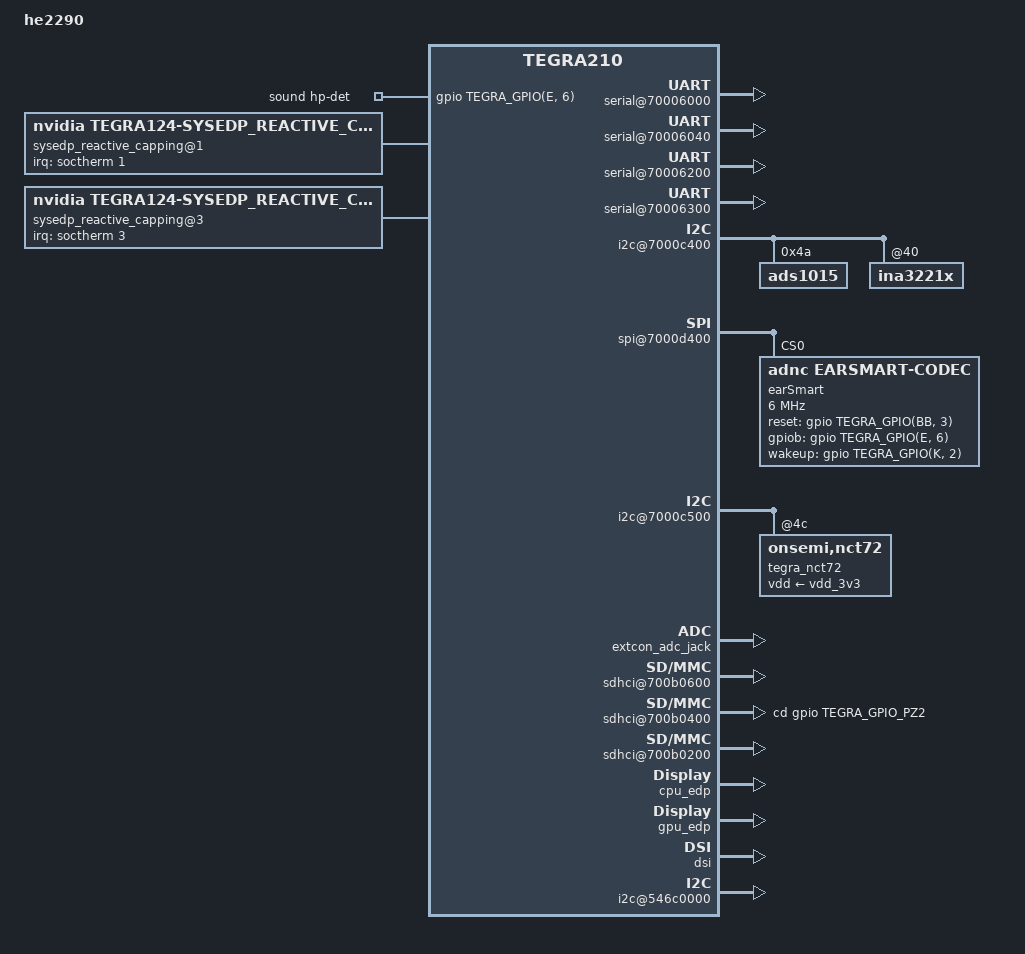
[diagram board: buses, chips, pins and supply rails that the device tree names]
/*
 * tegra210-hawkeye-p2290-common.dtsi: Hawkeye common dtsi.
 *
 * Copyright (c) 2014-2016, NVIDIA CORPORATION.  All rights reserved.
 *
 * This program is free software; you can redistribute it and/or modify
 * it under the terms of the GNU General Public License as published by
 * the Free Software Foundation; version 2 of the License.
 *
 * This program is distributed in the hope that it will be useful, but WITHOUT
 * ANY WARRANTY; without even the implied warranty of MERCHANTABILITY or
 * FITNESS FOR A PARTICULAR PURPOSE.  See the GNU General Public License for
 * more details.
 */

#include <dt-bindings/types.h>
/dts-v1/;

/memreserve/ 0x80000000 0x00020000;

#include "tegra210-soc-shield.dtsi"
#include <dt-bindings/interrupt-controller/arm-gic.h>
#include <dt-bindings/gpio/tegra-gpio.h>
#include <dt-bindings/padctrl/tegra210-pads.h>

#include "tegra210-platforms/tegra210-prods.dtsi"
#include "tegra210-platforms/tegra210-hawkeye-pinmux-p2290-1100-a00.dtsi"
#include "tegra210-platforms/tegra210-pinmux-drive-sdmmc-common.dtsi"
#include "tegra210-platforms/tegra210-hawkeye-pinmux-manual-p2290-1100-a00.dtsi"
#include "tegra210-platforms/tegra210-hawkeye-power-tree-p2290-1100-a00.dtsi"
#include "tegra210-platforms/tegra210-ers-keys-e2220-1170-a00.dtsi"
#include "tegra210-platforms/tegra210-hawkeye-maxim-charger.dtsi"
#include "panel-s-wuxga-7-0.dtsi"
#include "panel-s-wuxga-8-0.dtsi"
#include "panel-a-wuxga-8-0.dtsi"
#include "tegra210-platforms/tegra210-hawkeye-emc-p2290-1100-a00.dtsi"
#include "tegra210-platforms/tegra210-hawkeye-touch.dtsi"
#include "tegra210-platforms/tegra210-hawkeye-sensor-p2290-1100-a00.dtsi"
#include "tegra210-platforms/tegra210-hawkeye-camera-p2290-1100-a00.dtsi"
#include "tegra210-platforms/tegra210-hawkeye-modem-p2290-1100-a00.dtsi"
#include "tegra210-platforms/tegra210-sdhci.dtsi"
#include "tegra210-platforms/tegra210-edp.dtsi"
#include "tegra210-platforms/tegra210-audio.dtsi"
#include "tegra210-platforms/tegra210-ers-thermal-nct72-e2220-1170-a00.dtsi"
#include "tegra210-platforms/tegra210-thermal-Tboard-Tdiode.dtsi"
#include "tegra210-platforms/tegra210-therm-est.dtsi"
#include "tegra210-platforms/tegra210-ers-clk-init.dtsi"
#include "tegra210-platforms/tegra210-ers-hdmi-e2190-1100-a00.dtsi"
#include "tegra210-platforms/tegra210-hawkeye-keys-p2290-1100-a00.dtsi"
#include "tegra210-platforms/tegra210-hawkeye-powermon.dtsi"
#include "tegra210-platforms/tegra210-hawkeye-e-prods.dtsi"
#include "tegra210-platforms/tegra210-hawkeye-thermal-zone-p2290-1100-a00.dtsi"
#include "tegra210-platforms/tegra210-hawkeye-cpufreq.dtsi"
#include "tegra210-plugin-manager/tegra210-hawkeye-plugin-manager.dtsi"

/* TODO: comm's dtsi should be included after GPIO dtsi */
#include "tegra210-platforms/tegra210-hawkeye-comms.dtsi"

/ {
	model = "he2290";
	compatible = "nvidia,he2290", "nvidia,tegra210";
	nvidia,fastboot-usb-pid = <0xcf0e>;

	nvidia,pmu-boardid = "2290:0000:A0";
	nvidia,dtbbuildtime = __DATE__, __TIME__;
	#address-cells = <2>;
	#size-cells = <2>;

	chosen {
		fastboot-instructions = "Press <Power> to select, <Volume Up/Down> for selection move\n";
		long-press-power-key-on-time = <2>;
		no-tnid-sn;
		nvidia,fastboot_without_usb;
	};

	firmware {
		android {
			compatible = "android,firmware";
			hardware = "he2290";
		};
	};

	gpio@6000d000 {
		camera_control {
			gpio-output-low = <
				TEGRA_GPIO(S, 4)
				TEGRA_GPIO(S, 5)
				TEGRA_GPIO(S, 6)
				TEGRA_GPIO(S, 7)
				TEGRA_GPIO(T, 0)
				>;
		};

		audio_over_jack {
			gpio-output-high = <TEGRA_GPIO(DD, 0)>;
		};

		uart_overjack: uart_over_jack {
			status = "disabled";
			gpio-output-low = <TEGRA_GPIO(DD, 0)>;
		};
	};

	pinmux@700008d4 {
		prod-settings {
			prod-qspi {
				nvidia,prod-boot-init;
				prod = <0 0x29C 0xFFFFFFFD 0x00000000>; // QSPI-COMP-CONTROL E_INPU 0
			};
		};
	};

	serial@70006000 {
		compatible = "nvidia,tegra210-uart", "nvidia,tegra114-hsuart";
		console-port;
		sqa-automation-port;
		status = "okay";
	};

	serial@70006040 {
		compatible = "nvidia,tegra114-hsuart";
		status = "okay";
	};

	serial@70006200 {
		compatible = "nvidia,tegra114-hsuart";
		dma-names = "tx";
		nvidia,adjust-baud-rates = <921600 921600 100>;
		status = "okay";
	};

	serial@70006300 {
		compatible = "nvidia,tegra114-hsuart";
		dma-names = "tx";
		status = "okay";
	};

	gpio-keys {
		home {
			status = "disabled";
		};
	};

	i2c@7000c400 {
		status = "okay";
		lp8557-backlight-a-wuxga-8-0@2c {
			status = "disabled";
			disable-on-kernel-charging;
			compatible = "ti,lp8557";
			reg = <0x2c>;

			bl-name = "pwm-backlight"; /* Match liblights naming expectations */
			init-brt = /bits/ 8 <0xFF>; /* Max brightness */
			dev-ctrl = /bits/ 8 <0x80>; /* PWM, enable standby mode */
			pwm-period = <29334>;

			pwm-names = "lp8557";
			pwms = <&tegra_pwm 0 29334>;

			bl-measured = < 0 1 2 3 4 5 6 7
					8 9 10 11 12 13 14 15
					16 17 18 19 20 21 22 23
					24 25 26 27 28 29 30 31
					32 33 34 35 36 37 38 39
					40 41 42 43 44 45 46 47
					48 49 50 51 52 53 54 55
					56 57 58 59 60 61 62 63
					64 65 66 67 68 69 70 71
					72 73 74 75 76 77 78 79
					80 81 82 83 84 85 86 87
					88 89 90 91 92 93 94 95
					96 97 98 99 100 101 102 103
					104 105 106 107 108 109 110 111
					112 113 114 115 116 117 118 119
					120 121 122 123 124 125 126 127
					128 129 130 131 132 133 134 135
					136 137 138 139 140 141 142 143
					144 145 146 147 148 149 150 151
					152 153 154 155 156 157 158 159
					160 161 162 163 164 165 166 167
					168 169 170 171 172 173 174 175
					176 177 178 179 180 181 182 183
					184 185 186 187 188 189 190 191
					192 193 194 195 196 197 198 199
					200 201 202 203 204 205 206 207
					208 209 210 211 212 213 214 215
					216 217 218 219 220 221 222 223
					224 225 226 227 228 229 230 231
					232 233 234 235 236 237 238 239
					240 241 242 243 244 245 246 247
					248 249 250 251 252 253 254 255 >;

			/* 3 LED string */
			rom_14h {
				rom-addr = /bits/ 8 <0x14>;
				rom-val = /bits/ 8 <0x87>;
			};

			/*Boost freq 1MHZ*/
			rom_13h {
				rom-addr = /bits/ 8 <0x13>;
				rom-val = /bits/ 8 <0x01>;
			};
		};

		lp8557-backlight-s-wuxga-7-0@2c {
			status = "disabled";
			disable-on-kernel-charging;
			compatible = "ti,lp8557";
			reg = <0x2c>;

			bl-name = "pwm-backlight"; /* Match liblights naming expectations */
			init-brt = /bits/ 8 <0xFF>; /* Max brightness */
			dev-ctrl = /bits/ 8 <0x80>; /* PWM, enable standby mode */
			pwm-period = <29334>;

			pwm-names = "lp8557";
			pwms = <&tegra_pwm 0 29334>;

			bl-measured = < 0 1 2 3 4 5 6 7
					8 9 10 11 12 13 14 15
					16 17 18 19 20 21 22 23
					24 25 26 27 28 29 30 31
					32 33 34 35 36 37 38 39
					40 41 42 43 44 45 46 47
					48 49 50 51 52 53 54 55
					56 57 58 59 60 61 62 63
					64 65 66 67 68 69 70 71
					72 73 74 75 76 77 78 79
					80 81 82 83 84 85 86 87
					88 89 90 91 92 93 94 95
					96 97 98 99 100 101 102 103
					104 105 106 107 108 109 110 111
					112 113 114 115 116 117 118 119
					120 121 122 123 124 125 126 127
					128 129 130 131 132 133 134 135
					136 137 138 139 140 141 142 143
					144 145 146 147 148 149 150 151
					152 153 154 155 156 157 158 159
					160 161 162 163 164 165 166 167
					168 169 170 171 172 173 174 175
					176 177 178 179 180 181 182 183
					184 185 186 187 188 189 190 191
					192 193 194 195 196 197 198 199
					200 201 202 203 204 205 206 207
					208 209 210 211 212 213 214 215
					216 217 218 219 220 221 222 223
					224 225 226 227 228 229 230 231
					232 233 234 235 236 237 238 239
					240 241 242 243 244 245 246 247
					248 249 250 251 252 253 254 255 >;

			/* 5 LED string */
			rom_14h {
				rom-addr = /bits/ 8 <0x14>;
				rom-val = /bits/ 8 <0x9f>;
			};

			/*Boost freq 1MHZ*/
			rom_13h {
				rom-addr = /bits/ 8 <0x13>;
				rom-val = /bits/ 8 <0x01>;
			};
		};

		lp8557-backlight-s-wuxga-8-0@2c {
			status = "disabled";
			disable-on-kernel-charging;
			compatible = "ti,lp8557";
			reg = <0x2c>;

			bl-name = "pwm-backlight"; /* Match liblights naming expectations */
			init-brt = /bits/ 8 <0xFF>; /* Max brightness */
			dev-ctrl = /bits/ 8 <0x80>; /* PWM, enable standby mode */
			pwm-period = <29334>;

			pwm-names = "lp8557";
			pwms = <&tegra_pwm 0 29334>;

			bl-measured = < 0 1 2 3 4 5 5 6
					7 8 9 10 11 11 12 13
					14 15 15 16 17 18 19 20
					21 22 22 23 24 25 26 27
					28 29 30 31 31 32 33 34
					35 36 37 37 38 39 40 41
					41 42 43 44 45 46 47 48
					48 49 50 51 52 53 54 54
					55 56 57 58 58 59 60 61
					62 63 64 65 66 67 68 69
					70 71 72 73 74 75 75 76
					77 78 79 80 81 82 83 84
					85 86 87 88 89 90 91 92
					93 94 94 95 96 97 98 99
					100 101 102 104 105 106 107 108
					109 110 111 112 113 114 115 116
					117 118 119 120 121 122 123 125
					126 127 128 129 130 131 132 133
					134 135 136 137 138 139 140 141
					142 143 144 146 147 148 149 150
					151 152 153 154 155 156 157 158
					159 160 161 162 163 164 165 167
					168 169 170 171 172 173 174 175
					176 178 179 180 181 182 183 184
					185 186 187 188 189 190 191 192
					193 194 195 196 197 199 200 201
					202 203 204 205 206 207 208 210
					211 212 213 214 215 216 217 219
					220 221 222 223 225 226 227 228
					229 230 231 233 234 235 236 237
					238 239 240 241 242 244 245 246
					247 248 249 250 251 253 254 255 >;

			bl-curve = < 0 1 1 2 2 3 3 4
					4 5 5 6 7 7 8 8
					9 9 10 10 11 11 12 12
					13 14 14 15 15 16 16 17
					17 18 18 19 20 20 21 21
					22 22 23 23 24 24 25 25
					26 27 27 28 28 29 29 30
					30 31 31 32 33 33 34 34
					35 35 36 36 37 37 38 38
					39 40 40 41 41 42 42 43
					43 44 44 45 46 46 47 47
					48 48 49 49 50 50 51 52
					52 53 53 54 54 55 55 56
					56 57 57 58 59 59 60 60
					61 61 62 62 63 63 64 65
					65 66 66 67 67 68 68 69
					69 70 70 71 72 72 73 73
					74 74 75 75 76 76 77 78
					78 79 79 80 80 81 81 82
					82 83 83 84 85 85 86 86
					87 87 88 88 89 89 90 92
					94 96 97 99 101 103 105 107
					109 110 112 114 116 118 120 122
					123 125 127 129 131 133 134 136
					138 140 142 144 146 147 149 151
					153 155 157 159 160 162 164 166
					168 170 172 173 175 177 179 181
					183 185 186 188 190 192 194 196
					198 199 201 203 205 207 209 211
					212 214 216 218 220 222 223 225
					227 229 231 233 235 236 238 240
					242 244 246 248 249 251 253 255 >;

			/* 5 LED string */
			rom_14h {
				rom-addr = /bits/ 8 <0x14>;
				rom-val = /bits/ 8 <0x9f>;
			};

			/*Boost freq 1MHZ*/
			rom_13h {
				rom-addr = /bits/ 8 <0x13>;
				rom-val = /bits/ 8 <0x01>;
			};

			/*20mA max */
			rom_11h {
				rom-addr = /bits/ 8 <0x11>;
				rom-val = /bits/ 8 <0x05>;
			};
		};

		ads1015: ads1015@4a {
			reg = <0x4a>;
			compatible = "ads1015";
			#io-channel-cells = <1>;
			ti,programmable-gain-amplifier = <1>;
			sampling-frequency = <3300>;
			ti,adc-conversion-delay = <1500>;
			ti,traditional-comparator-mode;
			ti,comparator-queue = <3>;
			continuous-mode {
				ti,continuous-channel-number = <4>;
				ti,maximum-retries = <6>;
				sampling-frequency = <128>;
				ti,adc-valid-threshold-ranges= <(-100)  76
								200     309
								1049    1263
								673     848
								402     524
								2000    2047>;
			};
		};
	};

	adma@702e2000  {
		dma-channels = <10>;
		status = "okay";
	};

	spi@7000d400 {
		status = "okay";
		earSmart: earSmart-codec@0 {
			compatible = "adnc,earSmart-codec";
			reg = <0>;
			spi-max-frequency = <6000000>;
			spi-cpha;

			adnc,reset-gpio = <&gpio TEGRA_GPIO(BB, 3) GPIO_ACTIVE_HIGH>;
			adnc,gpiob-gpio = <&gpio TEGRA_GPIO(E, 6) GPIO_ACTIVE_HIGH>;
			adnc,wakeup-gpio = <&gpio TEGRA_GPIO(K, 2) GPIO_ACTIVE_HIGH>;

			adnc,int-gpio = <(-1)>;
			adnc,gpioa-gpio = <(-1)>;
			adnc,enable_hs_uart_intf = <0>;
			adnc,ext_clk_rate = <0>;
			adnc,debounce_timer = <3>;
			adnc,plug_det_enabled = <1>;
			adnc,mic_det_enabled = <1>;

			adnc,gpio_b_irq_type = <4>;
			adnc,cmd_comp_mode = <0>;

			/* Button Control 1 */
			adnc,btn_press_settling_time = <4>;
			adnc,btn_press_polling_rate = <1>;
			adnc,btn_press_det_act = <1>;

			/* Button Control 2 */
			adnc,double_btn_timer = <(-1)>;
			adnc,mic_det_settling_timer = <(-1)>;

			/* Button Control 3 */
			adnc,long_btn_timer = <(-1)>;
			adnc,adc_btn_mute = <(-1)>;

			/* Button Control 4 */
			adnc,valid_levels = <31>;
			adnc,impd_det_timer = <0>;
		};
	};

	ahub {
		i2s@702d1100 {
			pinctrl-names = "dap_active", "dap_inactive";
			pinctrl-0 = <>;
			pinctrl-1 = <>;
			regulator-supplies = "vdd-1v8-spi-hv", "vdd-1v8-spi-hv-bias";
			vdd-1v8-spi-hv-supply = <&max77620_sd3>;
			vdd-1v8-spi-hv-bias-supply = <&max77620_sd3>;
			fsync-width = <0>;
		};
	};

	sound {
		compatible = "nvidia,tegra-audio-t210ref-mobile-es755";
		nvidia,model = "tegra-snd-t210ref-mobile-es755";
		nvidia,hp-det-gpios = <&gpio TEGRA_GPIO(E, 6) GPIO_ACTIVE_HIGH>;
		nvidia,num-codec-link = <4>;
		nvidia,digital-mic-data-input = "pdm0_di";
		edp-consumer-name = "codec+speaker";

		nvidia,audio-routing =
			"Int Spk",	"SPKRL",
			"Int Spk",	"SPKRR",
			"y Headphone", 	"y OUT",
			"y IN",		"y Mic",
			"z IN",         "z OUT",
			"k Headphone", 	"k OUT",
			"k IN",		"k Mic";

		nvidia,xbar = <&tegra_axbar>;

		nvidia,dai-link-1 {
			link-name = "earSmart-playback";
			cpu-dai = <&tegra_i2s1>;
			codec-dai = <&earSmart>;
			cpu-dai-name = "I2S1";
			codec-dai-name = "earSmart-porta";
			format = "i2s";
			bitclock-slave;
			frame-slave;
			bitclock-noninversion;
			frame-noninversion;
			bit-format = "s16_le";
			bclk_ratio = <0>;
			srate = <48000>;
			num-channel = <2>;
			name-prefix = "x";
		};
		nvidia,dai-link-2 {
			link-name = "spdif-dit-1";
			cpu-dai = <&tegra_i2s2>;
			codec-dai = <&spdif_dit1>;
			cpu-dai-name = "I2S2";
			codec-dai-name = "dit-hifi";
			format = "dsp_a";
			bitclock-slave;
			frame-slave;
			bitclock-inversion;
			frame-inversion;
			bit-format = "s16_le";
			bclk_ratio = <4>;
			srate = <8000>;
			num-channel = <1>;
			name-prefix = "y";
		};
		nvidia,dai-link-3 {
			link-name = "spdif-dit-2";
			cpu-dai = <&tegra_i2s3>;
			codec-dai = <&spdif_dit2>;
			cpu-dai-name = "I2S3";
			codec-dai-name = "dit-hifi";
			format = "i2s";
			bitclock-slave;
			frame-slave;
			bitclock-noninversion;
			frame-noninversion;
			bit-format = "s16_le";
			bclk_ratio = <0>;
			srate = <48000>;
			num-channel = <2>;
			name-prefix = "z";
		};
                nvidia,dai-link-4 {
                        link-name = "spdif-dit-3";
                        cpu-dai = <&tegra_i2s4>;
                        codec-dai = <&spdif_dit3>;
                        cpu-dai-name = "I2S4";
                        codec-dai-name = "dit-hifi";
                        format = "i2s";
                        bitclock-slave;
                        frame-slave;
                        bitclock-noninversion;
                        frame-noninversion;
                        bit-format = "s16_le";
                        bclk_ratio = <0>;
                        srate = <48000>;
                        num-channel = <2>;
                        name-prefix = "k";
                };
	};

	i2c@7000c500 {
		tegra_nct72: onsemi,nct72@4c {
			vdd-supply = <&vdd_3v3>;
		};
	};

	camera-pcl {
		profiles {
			ov5693@x_0010 {
				use_of_node = "yes";
				dev_name = "ov5693";
				num = <0>;
				avdd-supply = <&max77620_ldo3>;
				dvdd-supply = <&max77620_ldo3>;
				dovdd-supply = <&en_vdd_cam>;
				cam2-gpios = <&gpio TEGRA_GPIO(S, 7) 1>;
			};
			ad5823@x_000c {
				use_of_node = "yes";
				vdd-supply = <&max77620_ldo3>;
				vif-supply = <&en_vdd_cam>;
				af-pwdn-gpios = <&gpio TEGRA_GPIO(S, 5) 1>;
			};
			imx132@x_0036 {
				use_of_node = "yes";
				dev_name = "imx132";
				num = <1>;
				vana-supply = <&max77620_ldo3>;
				vdig-supply = <&en_vdd_cam_1v2>;
				vif-supply = <&en_vdd_cam>;
				reset-gpios = <&gpio TEGRA_GPIO(T, 0) 0>;
				cam2-gpios = <&gpio TEGRA_GPIO(S, 4) 0>;
			};
		};

		dpd {
			compatible = "nvidia,csi-dpd";
			#address-cells = <1>;
			#size-cells = <0>;
			default-enable;
			num = <6>;
			csia {
				reg = <0x0 0x0 0x0 0x0>;
			};
			csib {
				reg = <0x0 0x1 0x0 0x0>;
			};
			csic {
				reg = <0x1 0x0a 0x0 0x0>;
			};
			csid {
				reg = <0x1 0x0b 0x0 0x0>;
			};
			csie {
				reg = <0x1 0x0c 0x0 0x0>;
			};
			csif {
				reg = <0x1 0x0d 0x0 0x0>;
			};
		};
	};

	psy_extcon: psy_extcon {
		compatible = "power-supply-extcon";
		extcon-cables = <&udc 1 &udc 2 &udc 3
					&udc 4 &udc 5 &udc 6
					&udc 7 &udc 8 &udc 9
					&udc 10 &udc 11 &udc 12 &udc 13 &otg 0 &otg 1>;
		extcon-cable-names = "usb-charger", "ta-charger", "maxim-charger",
					"qc2-charger", "downstream-charger","fast-charger",
					"slow-charger", "apple-500ma", "apple-1a",
					"apple-2a", "ACA NV-Charger", "ACA RID-B", "ACA RID-C", "y-cable", "ACA RID-A";
		status = "okay";
	};

	adsp_audio {
		compr-ops = <1>;
		num-plugin = <5>;
		plugin-info-1 {
			plugin-name = "mp3-dec1";
			firmware-name = "nvmp3dec.elf";
			widget-name = "MP3-DEC1";
		};
		plugin-info-2 {
			plugin-name = "spkprot";
			firmware-name = "nvspkprot.elf";
			widget-name = "SPKPROT-SW";
		};
		plugin-info-3 {
			plugin-name = "src";
			firmware-name = "nvsrc.elf";
			widget-name = "SRC";
		};
		plugin-info-4 {
			plugin-name = "aac-dec1";
			firmware-name = "nvaacdec.elf";
			widget-name = "AAC-DEC1";
		};
		plugin-info-5 {
			plugin-name = "aec";
			firmware-name = "libnvaecfx.elf";
			widget-name = "AEC";
		};
	};

	extcon {
		id_gpio_extcon: extcon@0 {
			compatible = "extcon-gpio";
			reg = <0x0>;
			status = "disabled";
			extcon-gpio,name = "ID";
			gpio = <&max77620 0 0>;
			extcon-gpio,connection-state-low;
			extcon-gpio,cable-name = "USB-Host";
			#extcon-cells = <1>;
		};

		extcon_adc_jack: extcon@1 {
			compatible = "extcon-adc-jack";
			reg = <0x1>;
                        interrupt-parent = <&gpio>;
                        interrupts = <TEGRA_GPIO(A, 2) GPIO_ACTIVE_HIGH>;
                        extcon-adc-jack,irq-flags = <2>;
			extcon-adc-jack,debounce-ms = <500>;
			extcon-adc-jack,cable-names = "ID-GND", "ID-NV", "ID-RA", "ID-RB", "ID-RC";
			extcon-adc-jack,states = <0x1    (-100)   76
						  0x2    200      309
						  0x4    1049     1263
						  0x8    673      848
						  0x10   402      524>;
			io-channels = <&ads1015 4>;
			io-channel-names = "id-resistance";
			#extcon-cells = <1>;
		};

                extcon_cable_xlate: extcon@2 {
                        compatible = "extcon-cable-xlate";
                        reg = <0x2>;
                        extcon-name = "cable-xlate";
                        output-cable-names = "USB", "USB-Host", "ACA-NV", "Y-Cable", "ACA-A", "ACA-B", "ACA-C";
                                        extcon-cables = <&bq2419x 0 &extcon_adc_jack 0 &extcon_adc_jack 1 &extcon_adc_jack 2 &extcon_adc_jack 3 &extcon_adc_jack 4>;
                        extcon-cable-names = "vbus", "id", "aca-nv", "aca-ra", "aca-rb", "aca-rc";
                        cable-states = <0x0     0x3F    0x0
                                        0x1     0x3F    0x1
                                        0x2     0x3F    0x2
                                        0x4     0x3F    0x4
                                        0x5     0x3F    0x4
                                        0x3     0x3F    0x8
                                        0x8     0x3F    0x10
                                        0x9     0x3F    0x10
                                        0x10    0x3F    0x20
                                        0x11    0x3F    0x20
                                        0x21    0x3F    0x40
                                        0x20    0x3F    0x40>;
                        #extcon-cells = <1>;
                };
	};

	pmc@7000e400 {
		nvidia,invert-interrupt;
		platform-io-pad-voltage = <TEGRA210_PAD_GPIO IO_PAD_VOLTAGE_1_8V>;
		io-pad-defaults {
			pex-bias {
				nvidia,deep-power-down-enable;
			};

			pex-clk1 {
				nvidia,deep-power-down-enable;
			};

			pex-clk2 {
				nvidia,deep-power-down-enable;
			};
			audio-hv {
				nvidia,io-pad-init-voltage = <IO_PAD_VOLTAGE_1_8V>;
			};

			gpio {
				nvidia,io-pad-init-voltage = <IO_PAD_VOLTAGE_1_8V>;
			};

			spi-hv {
				nvidia,io-pad-init-voltage = <IO_PAD_VOLTAGE_1_8V>;
			};

			sdmmc1 {
				nvidia,io-pad-init-voltage = <IO_PAD_VOLTAGE_1_8V>;
				nvidia,enable-dynamic-pad-voltage;
			};

			spi {
				nvidia,io-pad-init-voltage = <IO_PAD_VOLTAGE_1_8V>;
			};

			sdmmc3 {
				nvidia,enable-dynamic-pad-voltage;
			};
		};
	};

	usb_cd@7009f000 {
		nvidia,dcp-current-limit-ma = <1500>;
	};

	udc@7d000000 {
		nvidia,port-otg;
		nvidia,charging-supported;
		nvidia,enable-pmu-vbus-detection;
		nvidia,id-detection-type = <1>;
		nvidia,enable-aca-rid-detection;
		nvidia,enable-aca-nv-charger-detection;
		nvidia,dcp-current-limit-ua = <3000000>;
		nvidia,qc2-input-voltage = <TEGRA_USB_QC2_5V>;
		nvidia,qc2-current-limit-ua = <2000000>;
		extcon-cables = <&extcon_cable_xlate 0 &extcon_cable_xlate 2 &extcon_cable_xlate 5 &extcon_cable_xlate 6>;
		extcon-cable-names = "vbus", "aca-nv", "aca-rb", "aca-rc";
		#extcon-cells = <1>;
	};

	otg@7d000000 {
		nvidia,enable-pmu-vbus-detection;
		nvidia,id-detection-type = <1>;
		nvidia,enable-y-cable-detection;
		nvidia,enable-aca-rid-detection;
		nvidia,enable-aca-nv-charger-detection;
		extcon-cables = <&extcon_cable_xlate 0 &extcon_cable_xlate 1 &extcon_cable_xlate 2 &extcon_cable_xlate 3 &extcon_cable_xlate 4 &extcon_cable_xlate 5 &extcon_cable_xlate 6>;
		extcon-cable-names = "vbus", "id", "aca-nv", "y-cable", "aca-ra", "aca-rb", "aca-rc";
		#extcon-cells = <1>;
	};

	/* Put common control config here */
	xusb_pad_ctl: xusb_padctl {
		status = "disabled";
		nvidia,ss_portmap = <0x7770>;
		nvidia,lane_owner = <0xFFFF>; /* Use 0xF to disable lane assign */
	};

	xudc@700d0000 {
		nvidia,common_padctl = <&xusb_pad_ctl>;
		extcon-cables = <&extcon_cable_xlate 0>;
		extcon-cable-names = "vbus";
		#extcon-cells = <1>;
		status = "disabled";
	};

	xotg {
		extcon-cables = <&extcon_cable_xlate 1>;
		extcon-cable-names = "id";
		#extcon-cells = <1>;
		nvidia,common_padctl = <&xusb_pad_ctl>;
		status = "disabled";
	};

	sdhci@700b0600 {
		uhs-mask = <0x00>;
		built-in;
		nvidia,enable-hs533-mode;
		pll_source = "pll_p", "pll_c4_out1";
		max-clk-limit = <266000000>;
		status = "okay";
	};

	sdhci@700b0400 {
		uhs-mask = <0x8>; /* Disabled DDR50 mode for SD */
		mmc-ocr-mask = <3>;
		cd-gpios = <&gpio TEGRA_GPIO_PZ2 0>;
		nvidia,update-pinctrl-settings;
		pinctrl-names = "sdmmc_schmitt_enable", "sdmmc_schmitt_disable", "sdmmc_clk_schmitt_enable", "sdmmc_clk_schmitt_disable";
		pinctrl-0 = <&sdmmc3_schmitt_enable_state>;
		pinctrl-1 = <&sdmmc3_schmitt_disable_state>;
		pinctrl-2 = <&sdmmc3_clk_schmitt_enable_state>;
		pinctrl-3 = <&sdmmc3_clk_schmitt_disable_state>;
		nvidia,sd-device;
		status = "okay";
	};

	sdhci@700b0200 {
		uhs-mask = <0x8>; /* Disabled DDR50 mode for SDIO */
		nvidia,is-ddr-tap-delay;
		nvidia,ddr-tap-delay = <0>;
		status = "okay";
	};

	sdhci@700b0000 {
		uhs-mask = <0x1C>; /* Disabled UHS modes for 2nd SDIO */
		mmc-ocr-mask = <0>;
		default-drv-type = <1>;
		nvidia,update-pinctrl-settings;
		pinctrl-names = "sdmmc_schmitt_enable", "sdmmc_schmitt_disable", "sdmmc_clk_schmitt_enable", "sdmmc_clk_schmitt_disable";
		pinctrl-0 = <&sdmmc1_schmitt_enable_state>;
		pinctrl-1 = <&sdmmc1_schmitt_disable_state>;
		pinctrl-2 = <&sdmmc1_clk_schmitt_enable_state>;
		pinctrl-3 = <&sdmmc1_clk_schmitt_disable_state>;
		status = "disabled";
	};

	sysedp {
		compatible = "nvidia,tegra124-sysedp";
		nvidia,margin = <0>;
		nvidia,min_budget = <0>;
		nvidia,initial_budget = <20000>;
		consumers {
			consumer1 {
				nvidia,consumer_name = "primary-wifi";
				nvidia,states = <0 1020>;
			};
			consumer2 {
				/* internal eMMC */
				nvidia,consumer_name = "sdhci-tegra.3";
				nvidia,states = <0 1785>;
			};
			consumer3 {
				nvidia,consumer_name = "codec+speaker";
				nvidia,states = <0 1270>;
			};
			consumer4 {
				nvidia,consumer_name = "pwm-backlight";
				nvidia,states = <20 241 461 681 902 1122 1342 1563 1783 2003 2223>;
			};
			consumer5 {
				/* SD card */
				nvidia,consumer_name = "sdhci-tegra.2";
				nvidia,states = <0 1785>;
			};
			consumer6 {
				/* rear camera */
				nvidia,consumer_name = "ov5693";
				nvidia,states = <0 300>;
			};
			/* front camera place holder */
			/* consumer7 { }; */
		};
	};

	bcmdhd_wlan {
		/* broadcom wifi edp consumer name */
		edp-consumer-name = "primary-wifi";
	};

	cpu_edp {
		status = "okay";
		nvidia,edp_limit = <12000>;
	};

	gpu_edp {
		status = "okay";
		nvidia,edp_limit = <16000>;
	};

	soctherm@0x700E2000 {
		throttle@oc1 {
			/* vsys_min brownout detector voltage comparator */
			device_type = "throttlectl";
			oc-alarm-id = <1>;
			priority = <50>;
			mode = "brief";
			intr;
			active_low;
			count_threshold = <100>;
			filter = <5100000>;
			throttle_dev = <&{/soctherm@0x700E2000/throttle_dev@cpu_medium}
					&{/soctherm@0x700E2000/throttle_dev@gpu_medium}>;
		};
		throttle@oc3 {
			/* battery current monitor */
			device_type = "throttlectl";
			oc-alarm-id = <3>;
			priority = <50>;
			mode = "brief";
			intr;
			active_low;
			count_threshold = <100>;
			filter = <5100000>;
			throttle_dev = <&{/soctherm@0x700E2000/throttle_dev@cpu_medium}
					&{/soctherm@0x700E2000/throttle_dev@gpu_medium}>;
		};
		throttle_dev@cpu_medium {
			dividend = <63>;
			divisor = <255>;
			duration = <0>;
			step = <0>;
		};
		throttle_dev@gpu_medium {
			level = "medium_throttling";
		};
	};

	gpu-dvfs-rework {
		status = "okay";
	};

	thermal-zones {
		CPU-therm {
			thermal-zone-params {
				governor-name = "pid_thermal_gov";
				max_err_temp = <9000>;
				max_err_gain = <1000>;
				gain_p = <1000>;
				gain_d = <0>;
				up_compensation = <20>;
				down_compensation = <20>;
			};
			trips {
				cpu_critical {
					temperature = <103000>;
					hysteresis = <0>;
					type = "critical";
					writable;
				};
				cpu_heavy {
					temperature = <99000>;
					hysteresis = <0>;
					type = "hot";
					writable;
				};
				cpu_throttle {
					temperature = <89500>;
					hysteresis = <0>;
					type = "passive";
					writable;
				};
			};
			cooling-maps {
				map0 {
					trip = <&{/thermal-zones/CPU-therm/trips/cpu_critical}>;
					cdev-type = "tegra-shutdown";
					cooling-device = <&{/soctherm@0x700E2000/throttle@critical}
						THERMAL_NO_LIMIT THERMAL_NO_LIMIT>;
				};
				map1 {
					trip = <&{/thermal-zones/CPU-therm/trips/cpu_heavy}>;
					cdev-type = "tegra-heavy";
					cooling-device = <&{/soctherm@0x700E2000/throttle@heavy}
						THERMAL_NO_LIMIT THERMAL_NO_LIMIT>;
				};
				map2 {
					trip = <&{/thermal-zones/CPU-therm/trips/cpu_throttle}>;
					cdev-type = "cpu-balanced";
					cooling-device = <&{/bthrot_cdev/cpu_balanced}
						THERMAL_NO_LIMIT THERMAL_NO_LIMIT>;
				};
			};
		};
		GPU-therm {
			thermal-zone-params {
				governor-name = "pid_thermal_gov";
				max_err_temp = <9000>;
				max_err_gain = <1000>;
				gain_p = <1000>;
				gain_d = <0>;
				up_compensation = <20>;
				down_compensation = <20>;
			};
			trips {
				gpu_critical {
					temperature = <104000>;
					hysteresis = <0>;
					type = "critical";
					writable;
				};
				gpu_heavy {
					temperature = <101000>;
					hysteresis = <0>;
					type = "hot";
					writable;
				};
				gpu_throttle {
					temperature = <91500>;
					hysteresis = <0>;
					type = "passive";
					writable;
				};
			};
			cooling-maps {
				map0 {
					trip = <&{/thermal-zones/GPU-therm/trips/gpu_critical}>;
					cdev-type = "tegra-shutdown";
					cooling-device = <&{/soctherm@0x700E2000/throttle@critical}
						THERMAL_NO_LIMIT THERMAL_NO_LIMIT>;
				};
				map1 {
					trip = <&{/thermal-zones/GPU-therm/trips/gpu_heavy}>;
					cdev-type = "tegra-heavy";
					cooling-device = <&{/soctherm@0x700E2000/throttle@heavy}
						THERMAL_NO_LIMIT THERMAL_NO_LIMIT>;
				};
				map2 {
					trip = <&{/thermal-zones/GPU-therm/trips/gpu_throttle}>;
					cdev-type = "gpu-balanced";
					cooling-device = <&{/bthrot_cdev/gpu_balanced}
						THERMAL_NO_LIMIT THERMAL_NO_LIMIT>;
				};
			};
		};
		LCPU-therm {
			thermal-zone-params {
				governor-name = "pid_thermal_gov";
				max_err_temp = <9000>;
				max_err_gain = <1000>;
				gain_p = <1000>;
				gain_d = <0>;
				up_compensation = <20>;
				down_compensation = <20>;
			};
			trips {
				lcpu_critical {
					temperature = <104000>; /* must be same as GPU's critical temp */
					hysteresis = <0>;
					type = "critical";
					writable;
				};
				lcpu_heavy {
					temperature = <98000>;
					hysteresis = <0>;
					type = "hot";
					writable;
				};
				lcpu_throttle {
					temperature = <88500>;
					hysteresis = <0>;
					type = "passive";
					writable;
				};
			};
			cooling-maps {
				map0 {
					trip = <&{/thermal-zones/LCPU-therm/trips/lcpu_critical}>;
					cdev-type = "tegra-shutdown";
					cooling-device = <&{/soctherm@0x700E2000/throttle@critical}
						THERMAL_NO_LIMIT THERMAL_NO_LIMIT>;
				};
				map1 {
					trip = <&{/thermal-zones/LCPU-therm/trips/lcpu_heavy}>;
					cdev-type = "tegra-heavy";
					cooling-device = <&{/soctherm@0x700E2000/throttle@heavy}
						THERMAL_NO_LIMIT THERMAL_NO_LIMIT>;
				};
				map2 {
					trip = <&{/thermal-zones/LCPU-therm/trips/lcpu_throttle}>;
					cdev-type = "cpu-balanced";
					cooling-device = <&{/bthrot_cdev/cpu_balanced}
						THERMAL_NO_LIMIT THERMAL_NO_LIMIT>;
				};
			};
		};
		PLL-therm {
			thermal-zone-params {
				governor-name = "pid_thermal_gov";
				max_err_temp = <9000>;
				max_err_gain = <1000>;
				gain_p = <1000>;
				gain_d = <0>;
				up_compensation = <20>;
				down_compensation = <20>;
			};
		};
		Tboard_tegra {
			status = "okay";
		};
		Tdiode_tegra {
			status = "okay";
		};
	};

	sysedp-dynamic-capping {
		compatible = "nvidia,tegra124-sysedp-dynamic-capping";
		nvidia,throttle_depth = <75>;
		nvidia,cap_method = <3>;
		nvidia,core_gain = <120>;
	};

	sysedp_reactive_capping@1 {
		compatible = "nvidia,tegra124-sysedp_reactive_capping";
		nvidia,max_capping_mw = <15000>;
		nvidia,step_alarm_mw = <1000>;
		nvidia,step_relax_mw = <500>;
		nvidia,relax_ms = <250>;
		interrupt-parent = <&soctherm>;
		interrupts = <1 0x2002>;
			sysedpc {
				nvidia,name = "voltmon_oc1";
			};
	};

	sysedp_reactive_capping@3 {
		compatible = "nvidia,tegra124-sysedp_reactive_capping";
		nvidia,max_capping_mw = <15000>;
		nvidia,step_alarm_mw = <1000>;
		nvidia,step_relax_mw = <500>;
		nvidia,relax_ms = <250>;
		interrupt-parent = <&soctherm>;
		interrupts = <3 0x2002>;
			sysedpc {
				nvidia,name = "batmon_oc3";
			};
	};

	i2c@7000c400 {
		ina3221x@40 {
			/* rail VDD_BATT */
			channel@0 {
				ti,shunt-resistor-mohm = <5>;
				ti,current-warning-limit-ma = <8000>;
				ti,current-critical-limit-ma = <9000>;
			};
			/* rail VDD_VBUS */
			channel@1 {
				ti,shunt-resistor-mohm = <5>;
			};
			/* rail VDD_MODEM */
			channel@2 {
				ti,shunt-resistor-mohm = <5>;
			};
		};
	};

	backlight {
		status = "okay";
		disable-on-kernel-charging;
	};

	host1x {
		/* tegradc.0 */
		dc@54200000 {
			status = "okay";
			nvidia,dc-flags = <TEGRA_DC_FLAG_ENABLED>;
			nvidia,emc-clk-rate = <204000000>;
			nvidia,cmu-enable = <1>;
			nvidia,fb-bpp = <32>; /* bits per pixel */
			nvidia,fb-flags = <TEGRA_FB_FLIP_ON_PROBE>;
		};
		/* tegradc.1 */
		dc@54240000 {
			status = "okay";
			nvidia,dc-flags = <TEGRA_DC_FLAG_ENABLED>;
			nvidia,emc-clk-rate = <300000000>;
			nvidia,cmu-enable = <1>;
			nvidia,fb-bpp = <32>; /* bits per pixel */
			nvidia,fb-flags = <TEGRA_FB_FLIP_ON_PROBE>;
		};
		dsi {
			nvidia,dsi-controller-vs = <DSI_VS_1>;
			status = "okay";
			panel-a-wuxga-8-0 {
				nvidia,dsi-dpd-pads = <DSIC_DPD_EN DSID_DPD_EN>;
				nvidia,panel-rst-gpio = <&gpio TEGRA_GPIO(V, 2) 0>; /* PV2 */
				nvidia,panel-bl-pwm-gpio = <&gpio TEGRA_GPIO(V, 0) 0>; /* PV0 */
				nvidia,panel-en-gpio = <&gpio TEGRA_GPIO(V, 1) 0>; /* PV1 */
				disp-default-out {
					nvidia,out-rotation = <180>;
				};
			};
			panel-s-wuxga-7-0 {
				nvidia,dsi-dpd-pads = <DSIC_DPD_EN DSID_DPD_EN>;
				nvidia,panel-rst-gpio = <&gpio TEGRA_GPIO(V, 2) 0>; /* PV2 */
				nvidia,panel-bl-pwm-gpio = <&gpio TEGRA_GPIO(V, 0) 0>; /* PV0 */
				nvidia,panel-en-gpio = <&gpio TEGRA_GPIO(V, 1) 0>; /* PV1 */
				nvidia,dsi-refresh-rate = <75>;
				disp-default-out {
					nvidia,out-rotation = <180>;
				};
				vrr-settings {
					nvidia,vrr_min_fps = <30>;
				};
				display-timings {
					1200x1920-32-75Hz {
						clock-frequency = <193224000>;
						hactive = <1200>;
						vactive = <1920>;
						hfront-porch = <107>;
						hback-porch = <20>;
						hsync-len = <1>;
						vfront-porch = <12>;
						vback-porch = <7>;
						vsync-len = <1>;
						nvidia,h-ref-to-sync = <1>;
						nvidia,v-ref-to-sync = <11>;
					};
				};
			};
			panel-s-wuxga-8-0 {
				nvidia,dsi-dpd-pads = <DSIC_DPD_EN DSID_DPD_EN>;
				nvidia,panel-rst-gpio = <&gpio TEGRA_GPIO(V, 2) 0>; /* PV2 */
				nvidia,panel-bl-pwm-gpio = <&gpio TEGRA_GPIO(V, 0) 0>; /* PV0 */
				nvidia,panel-en-gpio = <&gpio TEGRA_GPIO(V, 1) 0>; /* PV1 */
				nvidia,dsi-refresh-rate = <75>;
				disp-default-out {
					nvidia,out-rotation = <180>;
				};
				vrr-settings {
					nvidia,vrr_min_fps = <30>;
					nvidia,frame_len_fluct = <6667>;
					nvidia,db_correct_cap = <4000>;
					nvidia,db_hist_cap = <75000>;
				};
				display-timings {
					1200x1920-32-75Hz {
						clock-frequency = <193224000>;
						hactive = <1200>;
						vactive = <1920>;
						hfront-porch = <107>;
						hback-porch = <20>;
						hsync-len = <1>;
						vfront-porch = <12>;
						vback-porch = <7>;
						vsync-len = <1>;
						nvidia,h-ref-to-sync = <1>;
						nvidia,v-ref-to-sync = <11>;
					};
				};
			};
		};
		i2c@546c0000 {
			avdd_dsi_csi-supply = <&mipi_1v2>;
			status = "okay";
		};
	};

	soctherm@0x700E2000 {
		therm_cpu {
			enable-hw-pllx-offsetting;
			pllx-offset-max = <6500>;
			pllx-offset-min = <4000>;
		};
		therm_gpu {
			enable-hw-pllx-offsetting;
			pllx-offset-max = <6000>;
			pllx-offset-min = <4500>;
		};
	};

	i2c@7000d000 {
		clock-frequency = <1000000>;
	};

	dfll-max77621@70110000 {
		dfll-max77621-integration {
			i2c-fs-rate = <1000000>;
		};

		dfll-max77621-board-params {
			sample-rate = <20000>;
		};
	};

	pinmux@700008d4 {
		prod-settings {
			i2c0_prod {
				nvidia,prod-boot-init;
				prod = <0 0xD4 0xFE0E0FFF 0x00006000
					0 0xD8 0xFE0E0FFF 0x00006000
					1 0xBC 0xFFFFEEFF 0x00000000
					1 0xC0 0xFFFFEEFF 0x00000000>;
			};

			i2c1_prod {
				nvidia,prod-boot-init;
				prod = <0 0xDC 0xFE0E0FFF 0x00000000
					0 0xE0 0xFE0E0FFF 0x00000000
					1 0xC4 0xFFFFEEFF 0x00000100
					1 0xC8 0xFFFFEEFF 0x00000100>;
			};

                        i2c2_prod {
				nvidia,prod-boot-init;
				prod = <0 0xE4 0xFE0E0FFF 0x00000000
					0 0xE8 0xFE0E0FFF 0x00000000
					1 0xCC 0xFFFFEEFF 0x00000100
					1 0xD0 0xFFFFEEFF 0x00000100
					0 0x60 0xFE0E0FFF 0x00000000
					0 0x64 0xFE0E0FFF 0x00000000
					1 0xD4 0xFFFFEEFF 0x00000100
					1 0xD8 0xFFFFEEFF 0x00000100>;
			};

			i2c4_prod {
				nvidia,prod-boot-init;
				prod = <0 0x198 0xFE0E0FFF 0x00000000
					0 0x19C 0xFE0E0FFF 0x00002000
					1 0xDC 0xFFFFEEFF 0x00000100
					1 0xE0 0xFFFFEEFF 0x00000100>;
			};

			uart3_prod {
				nvidia,prod-boot-init;
				prod = <0 0x268 0xFE0E0FFF 0x00000000
					0 0x26c 0xFE0E0FFF 0x00000000
					0 0x270 0xFE0E0FFF 0x00000000
					0 0x274 0xFE0E0FFF 0x00000000>;
			};

			spi4_prod {
				status = "disabled";
			};
		};
	};

	spi@7000da00 {
		pinctrl-names = "interface-enable";
		pinctrl-0 = <&spi4_en_interface>;
	};

	rollback-protection {
		device-name = "sdmmc";
		device-method = <0x1 0x00000002>;  /* type (0x1 = ioctl) */
		status = "okay";
	};

	ehci@7d004000 {
		avdd_usb-supply = <&vdd_3v3>;
		vddio_hsic-supply = <&max77620_ldo0>;
	};

	watchdog@60005100 {
		nvidia,extend-watchdog-suspend;
	};
};
